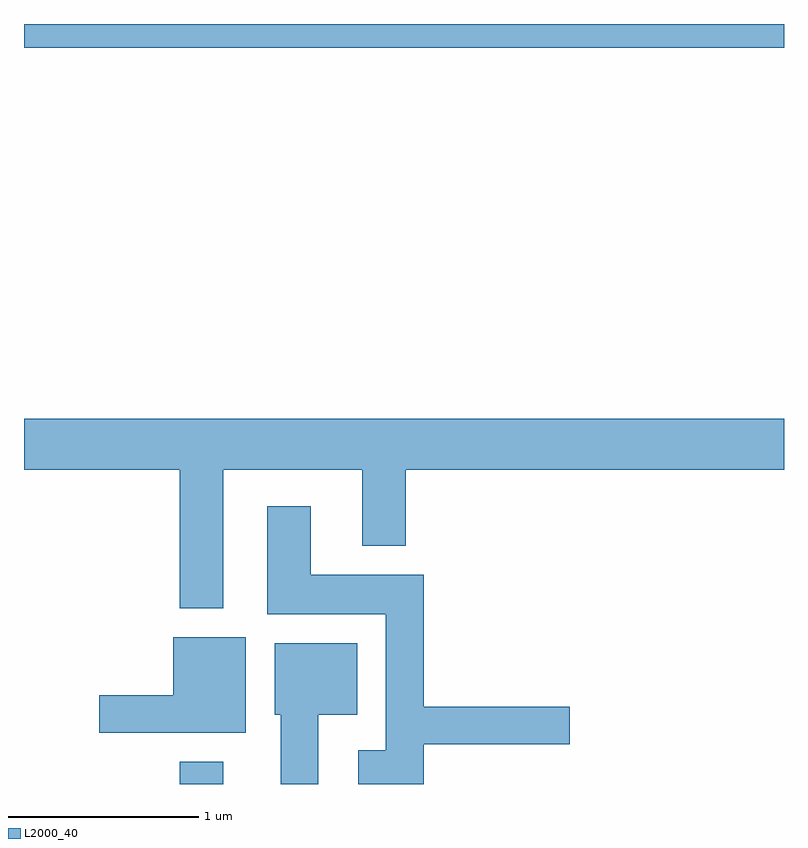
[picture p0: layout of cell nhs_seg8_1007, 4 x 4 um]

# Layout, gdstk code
import gdstk
lib = gdstk.Library(unit=1e-6, precision=1e-09)
def R(c, l, rs):  # rectangles x0, y0, x1, y1
    for r in rs: c.add(gdstk.rectangle(r[:2], r[2:], *l))
def P(c, l, *ps):  # polygons
    for p in ps: c.add(gdstk.Polygon(p, *l))
L2000_40 = (2000, 40)

nhs_seg8_1007 = lib.new_cell('nhs_seg8_1007')
R(nhs_seg8_1007, L2000_40, [(216.431,1810.342,216.659,1810.459), (215.611,1814.216,219.611,1814.342)])
P(nhs_seg8_1007, L2000_40, [(216.659,1811.996),(217.391,1811.996),(217.391,1811.596),(217.619,1811.596),(217.619,1811.996),(219.611,1811.996),(219.611,1812.264),(215.611,1812.264),(215.611,1811.996),(216.431,1811.996),(216.431,1811.266),(216.659,1811.266)],
  [(217.714,1810.551),(218.484,1810.551),(218.484,1810.749),(217.714,1810.749),(217.714,1811.444),(217.119,1811.444),(217.119,1811.804),(216.891,1811.804),(216.891,1811.236),(217.516,1811.236),(217.516,1810.519),(217.371,1810.519),(217.371,1810.342),(217.714,1810.342)],
  [(216.779,1811.114),(216.396,1811.114),(216.396,1810.809),(216.006,1810.809),(216.006,1810.611),(216.779,1810.611)],
  [(217.159,1810.706),(217.364,1810.706),(217.364,1811.084),(216.931,1811.084),(216.931,1810.706),(216.961,1810.706),(216.961,1810.342),(217.159,1810.342)])

lib.write_gds('nhs_seg8_1007.gds')
